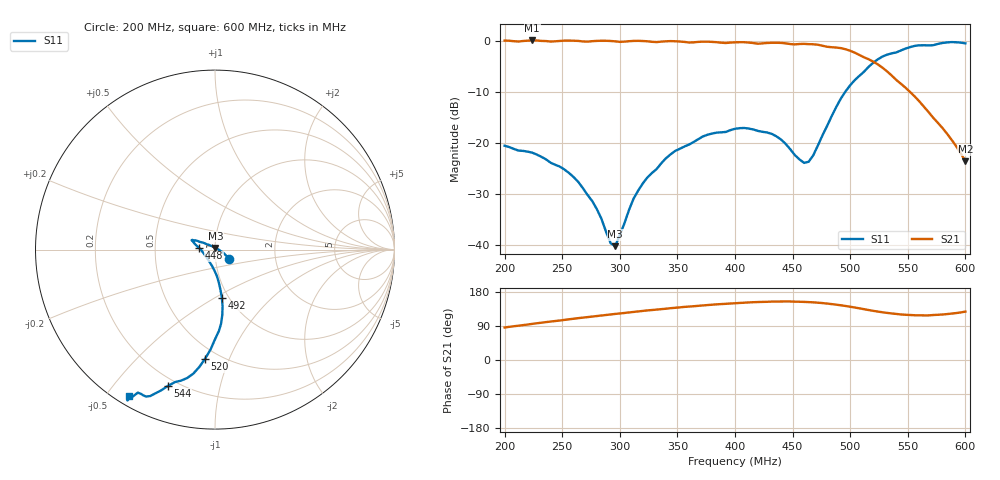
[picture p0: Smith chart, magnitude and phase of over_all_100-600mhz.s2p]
# HZ S RI R 50
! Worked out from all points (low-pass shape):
!   101 points, 200 MHz to 600 MHz, reference 50 ohm
!   highest |S21| = 0.07 dB at 224 MHz (marker M1); lowest = -23.6 dB at 600 MHz (marker M2)
!   |S21| within 3 dB of the highest: start of sweep to 509.3 MHz
!   lowest |S11| = -40.2 dB at 296 MHz (marker M3), VSWR 1.02, Z = 50.2 + j0.958 ohm
!   |S11| at or under -10 dB: start of sweep to 495.7 MHz
!   S12 and S22 are empty: the file has one direction only
!   S11 on the Smith chart (normalised r, x): 200 MHz: 1.16, -0.13; 448 MHz: 0.84, +0.01; 492 MHz: 0.93, -0.54; 520 MHz: 0.42, -0.82; 544 MHz: 0.16, -0.70; 600 MHz: 0.04, -0.57
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2e8  0.0761 -0.0551  0.0727 1.003  0 0  0 0
2.24e8  0.069 -0.0411  -0.0934 1.004  0 0  0 0
2.52e8  0.0505 -0.0214  -0.2742 0.9662  0 0  0 0
2.68e8  0.0346 -0.00992  -0.3667 0.9157  0 0  0 0
2.8e8  0.0225 -0.00161  -0.4373 0.8979  0 0  0 0
2.92e8  0.00755 0.00723  -0.5008 0.8619  0 0  0 0
2.96e8  0.00204 0.00954  -0.518 0.8424  0 0  0 0
3.12e8  -0.0199 0.0205  -0.5988 0.7989  0 0  0 0
3.36e8  -0.0535 0.0336  -0.6848 0.7041  0 0  0 0
3.72e8  -0.1042 0.0501  -0.7933 0.5776  0 0  0 0
4e8  -0.1267 0.054  -0.835 0.4877  0 0  0 0
4.32e8  -0.1169 0.0368  -0.8606 0.4184  0 0  0 0
4.48e8  -0.0865 0.00721  -0.8389 0.4015  0 0  0 0
4.6e8  -0.0557 -0.0311  -0.8348 0.4194  0 0  0 0
4.68e8  -0.0293 -0.0701  -0.8183 0.4323  0 0  0 0
4.92e8  0.0385 -0.2705  -0.689 0.4946  0 0  0 0
5.08e8  0.0215 -0.4538  -0.5254 0.5016  0 0  0 0
5.2e8  -0.0551 -0.6079  -0.3995 0.4812  0 0  0 0
5.36e8  -0.1889 -0.7301  -0.2483 0.3846  0 0  0 0
5.44e8  -0.2635 -0.76  -0.1907 0.3284  0 0  0 0
5.8e8  -0.473 -0.8269  -0.0703 0.1217  0 0  0 0
6e8  -0.4773 -0.8144  -0.0407 0.0523  0 0  0 0
